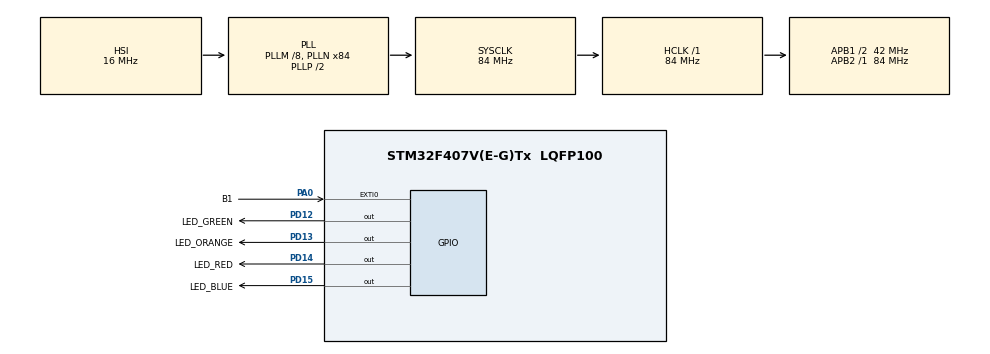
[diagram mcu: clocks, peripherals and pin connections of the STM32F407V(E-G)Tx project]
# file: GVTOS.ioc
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Mcu.Family=STM32F4
Mcu.Name=STM32F407V(E-G)Tx
Mcu.Package=LQFP100
NVIC.EXTI0_IRQn=true\:15\:0\:true\:false\:true\:true\:true\:true
NVIC.PriorityGroup=NVIC_PRIORITYGROUP_4
PA0-WKUP.GPIO_Label=B1
PA0-WKUP.Signal=GPXTI0
PA13.GPIO_Label=SWDIO
PA13.Mode=Serial_Wire
PA13.Signal=SYS_JTMS-SWDIO
PA14.GPIO_Label=SWCLK
PA14.Mode=Serial_Wire
PA14.Signal=SYS_JTCK-SWCLK
PB3.GPIO_Label=SWO
PB3.Signal=SYS_JTDO-SWO
PD12.GPIO_Label=LED_GREEN
PD12.GPIO_PuPd=GPIO_NOPULL
PD12.GPIO_Speed=GPIO_SPEED_FREQ_LOW
PD12.Signal=GPIO_Output
PD13.GPIO_Label=LED_ORANGE
PD13.GPIO_PuPd=GPIO_NOPULL
PD13.GPIO_Speed=GPIO_SPEED_FREQ_LOW
PD13.Signal=GPIO_Output
PD14.GPIO_Label=LED_RED
PD14.GPIO_PuPd=GPIO_NOPULL
PD14.GPIO_Speed=GPIO_SPEED_FREQ_LOW
PD14.Signal=GPIO_Output
PD15.GPIO_Label=LED_BLUE
PD15.GPIO_PuPd=GPIO_NOPULL
PD15.GPIO_Speed=GPIO_SPEED_FREQ_LOW
PD15.Signal=GPIO_Output
ProjectManager.HeapSize=0x400
ProjectManager.StackSize=0x200
ProjectManager.TargetToolchain=STM32CubeIDE
RCC.48MHZClocksFreq_Value=24000000
RCC.AHBFreq_Value=84000000
RCC.APB1CLKDivider=RCC_HCLK_DIV2
RCC.APB1Freq_Value=42000000
RCC.APB1TimFreq_Value=84000000
RCC.APB2Freq_Value=84000000
RCC.APB2TimFreq_Value=84000000
RCC.CortexFreq_Value=84000000
RCC.HCLKFreq_Value=84000000
RCC.HSE_VALUE=8000000
RCC.HSI_VALUE=16000000
RCC.LSE_VALUE=32768
RCC.PLLM=8
RCC.PLLN=84
RCC.PLLQ=7
RCC.SYSCLKFreq_VALUE=84000000
RCC.SYSCLKSource=RCC_SYSCLKSOURCE_PLLCLK
RCC.VCOOutputFreq_Value=168000000
TIM13.Period=0xFFFF
VP_TIM13_VS_ClockSourceINT.Mode=Enable_Timer
VP_TIM13_VS_OPM.Mode=OPM_bit
board=STM32F407G-DISC1

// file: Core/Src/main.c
/* USER CODE BEGIN Header */
/**
 ******************************************************************************
 * @file           : main.c
 * @brief          : Main program body
 ******************************************************************************
 * @attention
 *
 * <h2><center>&copy; Copyright (c) 2021 STMicroelectronics.
 * All rights reserved.</center></h2>
 *
 * This software component is licensed by ST under Ultimate Liberty license
 * SLA0044, the "License"; You may not use this file except in compliance with
 * the License. You may obtain a copy of the License at:
 *                             www.st.com/SLA0044
 *
 ******************************************************************************
 */
/* USER CODE END Header */

#include "main.h"
#include "tim.h"
#include "gpio.h"
#include <stdio.h>
#include <stdlib.h>

/* USER CODE BEGIN Includes */
#include "math.h"

#include "OS/inc/OS.h"
/* USER CODE END Includes */

/* USER CODE BEGIN PV */
#define ASSERT(x)	if( !(x) ) Error_Handler();
#define COUNTOF(x)	(int) ((sizeof(x) / sizeof(*x)))

/* USER CODE END PV */

void SystemClock_Config(void);

/* USER CODE BEGIN PFP */
os_handle_t msgQ;
os_handle_t msgQ2;
os_handle_t msgQ3;
/* USER CODE END PFP */

/* USER CODE BEGIN 0 */
int cont;
void HAL_GPIO_EXTI_Callback(uint16_t GPIO_Pin)
{
	os_handle_t v[] = { msgQ, msgQ2, msgQ3 };
	os_msgQ_push(v[cont % 3], (void*)cont);
	cont++;
}

/* USER CODE END 0 */

int main(void)
{
	/* USER CODE BEGIN 1 */
	srand(0);
	/* USER CODE END 1 */

	/* MCU Configuration--------------------------------------------------------*/

	/* Reset of all peripherals, Initializes the Flash interface and the Systick. */
	HAL_Init();

	/* Configure the system clock */
	SystemClock_Config();

	/* Initialize all configured peripherals */
	MX_GPIO_Init();
	MX_TIM13_Init();
	/* USER CODE BEGIN 2 */

	ASSERT(os_init("main", 9, OS_DEFAULT_STACK_SIZE, "idle", OS_DEFAULT_STACK_SIZE) == OS_ERR_OK);

	ASSERT(os_msgQ_create(&msgQ, OS_MSGQ_MODE_FIFO, NULL) == OS_ERR_OK);
	ASSERT(os_msgQ_create(&msgQ2, OS_MSGQ_MODE_FIFO, NULL) == OS_ERR_OK);
	ASSERT(os_msgQ_create(&msgQ3, OS_MSGQ_MODE_FIFO, NULL) == OS_ERR_OK);

	os_scheduler_start();

	/* USER CODE END 2 */

	/* Infinite loop */
	/* USER CODE BEGIN WHILE */

	while(1)
	{
		void* ret = os_obj_multiple_WaitOne(NULL, OS_WAIT_FOREVER, 3, msgQ, msgQ2, msgQ3);
		if(ret == msgQ){
			void* msg = os_msgQ_pop(msgQ, NULL);
			(void)msg;
			printf("%d", (int)msg);
		}

		if(ret == msgQ2){
			void* msg = os_msgQ_pop(msgQ2, NULL);
			(void)msg;
			printf("%d", (int)msg);
		}

		if(ret == msgQ3){
			void* msg = os_msgQ_pop(msgQ3, NULL);
			(void)msg;
			printf("%d", (int)msg);
		}
	}
	/* USER CODE END 3 */
}

void SystemClock_Config(void)
{
	RCC_OscInitTypeDef RCC_OscInitStruct = {0};
	RCC_ClkInitTypeDef RCC_ClkInitStruct = {0};

	/** Configure the main internal regulator output voltage
	 */
	__HAL_RCC_PWR_CLK_ENABLE();
	__HAL_PWR_VOLTAGESCALING_CONFIG(PWR_REGULATOR_VOLTAGE_SCALE1);
	/** Initializes the CPU, AHB and APB busses clocks
	 */
	RCC_OscInitStruct.OscillatorType = RCC_OSCILLATORTYPE_HSI;
	RCC_OscInitStruct.HSIState = RCC_HSI_ON;
	RCC_OscInitStruct.HSICalibrationValue = RCC_HSICALIBRATION_DEFAULT;
	RCC_OscInitStruct.PLL.PLLState = RCC_PLL_ON;
	RCC_OscInitStruct.PLL.PLLSource = RCC_PLLSOURCE_HSI;
	RCC_OscInitStruct.PLL.PLLM = 8;
	RCC_OscInitStruct.PLL.PLLN = 84;
	RCC_OscInitStruct.PLL.PLLP = RCC_PLLP_DIV2;
	RCC_OscInitStruct.PLL.PLLQ = 7;
	if (HAL_RCC_OscConfig(&RCC_OscInitStruct) != HAL_OK)
	{
		Error_Handler();
	}
	/** Initializes the CPU, AHB and APB busses clocks
	 */
	RCC_ClkInitStruct.ClockType = RCC_CLOCKTYPE_HCLK|RCC_CLOCKTYPE_SYSCLK
			|RCC_CLOCKTYPE_PCLK1|RCC_CLOCKTYPE_PCLK2;
	RCC_ClkInitStruct.SYSCLKSource = RCC_SYSCLKSOURCE_PLLCLK;
	RCC_ClkInitStruct.AHBCLKDivider = RCC_SYSCLK_DIV1;
	RCC_ClkInitStruct.APB1CLKDivider = RCC_HCLK_DIV2;
	RCC_ClkInitStruct.APB2CLKDivider = RCC_HCLK_DIV1;

	if (HAL_RCC_ClockConfig(&RCC_ClkInitStruct, FLASH_LATENCY_2) != HAL_OK)
	{
		Error_Handler();
	}
}

/* USER CODE BEGIN 4 */
int errCount = 0;
/* USER CODE END 4 */

void Error_Handler(void)
{
	/* USER CODE BEGIN Error_Handler_Debug */
	/* User can add his own implementation to report the HAL error return state */
	errCount++;
	/* USER CODE END Error_Handler_Debug */
}

/************************ (C) COPYRIGHT STMicroelectronics *****END OF FILE****/
